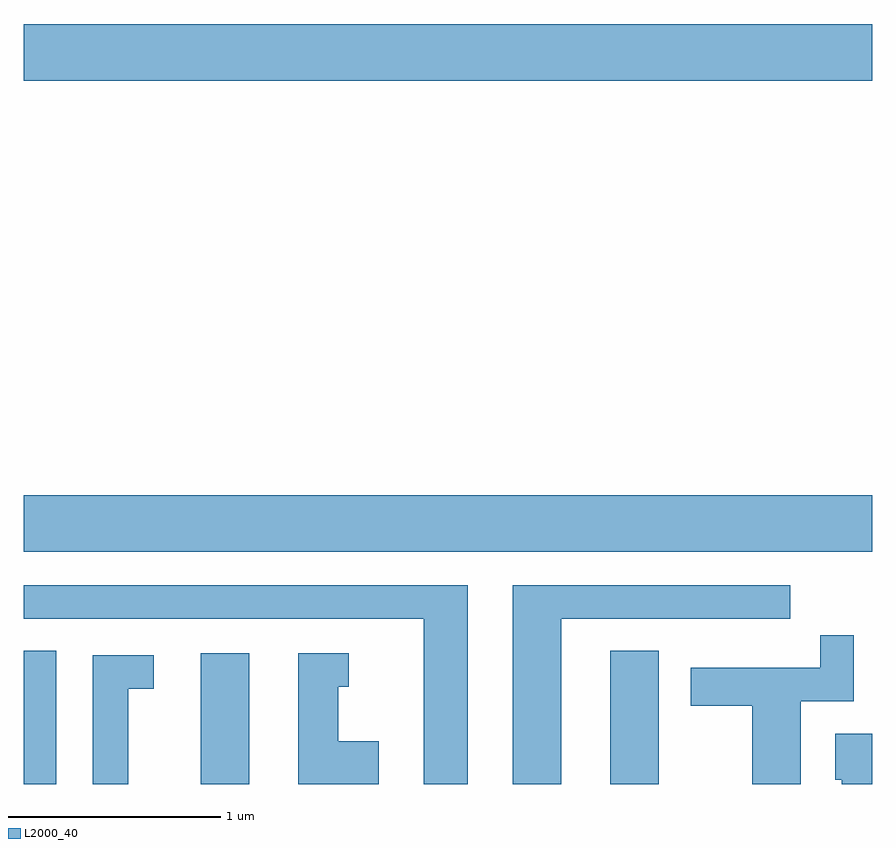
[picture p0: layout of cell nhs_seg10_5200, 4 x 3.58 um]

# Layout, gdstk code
import gdstk
lib = gdstk.Library(unit=1e-6, precision=1e-09)
def R(c, l, rs):  # rectangles x0, y0, x1, y1
    for r in rs: c.add(gdstk.rectangle(r[:2], r[2:], *l))
def P(c, l, *ps):  # polygons
    for p in ps: c.add(gdstk.Polygon(p, *l))
L2000_40 = (2000, 40)

nhs_seg10_5200 = lib.new_cell('nhs_seg10_5200')
R(nhs_seg10_5200, L2000_40, [(337.611,2190.522,337.764,2191.149), (338.446,2190.522,338.674,2191.139), (340.376,2190.522,340.604,2191.149), (337.611,2191.616,341.611,2191.884), (337.611,2193.836,341.611,2194.104)])
P(nhs_seg10_5200, L2000_40, [(340.144,2191.301),(341.223,2191.301),(341.223,2191.459),(339.916,2191.459),(339.916,2190.522),(340.144,2190.522)],
  [(339.704,2191.459),(337.611,2191.459),(337.611,2191.301),(339.496,2191.301),(339.496,2190.522),(339.704,2190.522)],
  [(341.274,2190.911),(341.524,2190.911),(341.524,2191.223),(341.366,2191.223),(341.366,2191.069),(340.756,2191.069),(340.756,2190.891),(341.046,2190.891),(341.046,2190.522),(341.274,2190.522)],
  [(339.284,2190.724),(339.094,2190.724),(339.094,2190.981),(339.143,2190.981),(339.143,2191.139),(338.906,2191.139),(338.906,2190.522),(339.284,2190.522)],
  [(338.104,2190.971),(338.223,2190.971),(338.223,2191.129),(337.936,2191.129),(337.936,2190.522),(338.104,2190.522)],
  [(341.611,2190.759),(341.436,2190.759),(341.436,2190.541),(341.466,2190.541),(341.466,2190.522),(341.611,2190.522)])

lib.write_gds('nhs_seg10_5200.gds')
